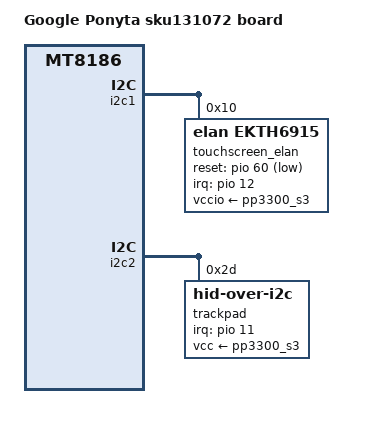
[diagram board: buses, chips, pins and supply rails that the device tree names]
// SPDX-License-Identifier: (GPL-2.0 OR MIT)
/*
 * Copyright 2025 Google LLC
 */

/dts-v1/;
#include "mt8186-corsola-ponyta360.dtsi"

/ {
	model = "Google Ponyta sku131072 board";
	compatible = "google,ponyta-sku131072", "google,ponyta", "mediatek,mt8186";
};

&i2c1 {
	/* The actual IC is elan,ekth7b18uay, but elan,ekth6915 is compatible with it */
	touchscreen_elan: touchscreen@10 {
		compatible = "elan,ekth6915";
		reg = <0x10>;
		interrupts-extended = <&pio 12 IRQ_TYPE_LEVEL_LOW>;
		pinctrl-names = "default";
		pinctrl-0 = <&touchscreen_pins>;
		panel = <&panel>;
		reset-gpios = <&pio 60 GPIO_ACTIVE_LOW>;
		vccio-supply = <&pp3300_s3>;
	};
};

&i2c2 {
	i2c-scl-internal-delay-ns = <22000>;

	trackpad@2d {
		compatible = "hid-over-i2c";
		reg = <0x2d>;
		hid-descr-addr = <0x20>;
		interrupts-extended = <&pio 11 IRQ_TYPE_LEVEL_LOW>;
		vcc-supply = <&pp3300_s3>;
		wakeup-source;
	};
};

&touchscreen_ilitek {
	status = "disabled";
};
